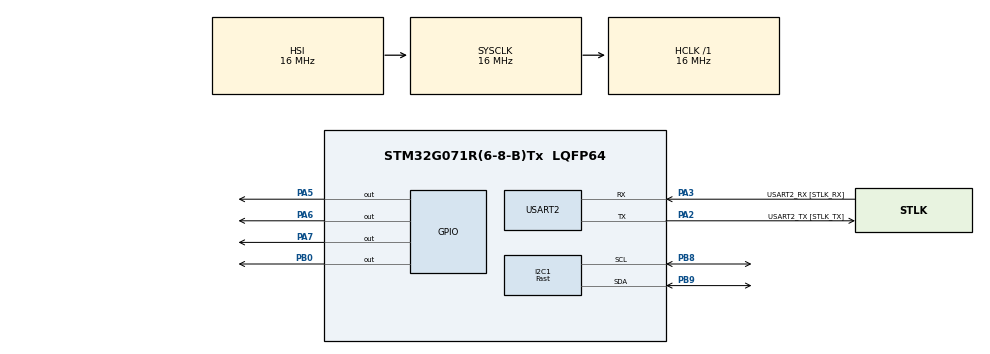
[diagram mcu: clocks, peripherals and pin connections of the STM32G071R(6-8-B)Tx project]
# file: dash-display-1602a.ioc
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I2C1.I2C_Speed_Mode=I2C_Fast
I2C1.Timing=0x0010061A
Mcu.Family=STM32G0
Mcu.Name=STM32G071R(6-8-B)Tx
Mcu.Package=LQFP64
PA13.GPIO_Label=TMS
PA13.Mode=Serial_Wire
PA13.Signal=SYS_SWDIO
PA14-BOOT0.GPIO_Label=TCK
PA14-BOOT0.Mode=Serial_Wire
PA14-BOOT0.Signal=SYS_SWCLK
PA2.GPIO_Label=USART2_TX [STLK_TX]
PA2.GPIO_PuPd=GPIO_PULLUP
PA2.Mode=Asynchronous
PA2.Signal=USART2_TX
PA3.GPIO_Label=USART2_RX [STLK_RX]
PA3.GPIO_PuPd=GPIO_PULLUP
PA3.Mode=Asynchronous
PA3.Signal=USART2_RX
PA5.Signal=GPIO_Output
PA6.Signal=GPIO_Output
PA7.Signal=GPIO_Output
PB0.Signal=GPIO_Output
PB8.Mode=I2C
PB8.Signal=I2C1_SCL
PB9.Mode=I2C
PB9.Signal=I2C1_SDA
PC13.Mode=SYS_WakeUp1
PC13.Signal=SYS_WKUP2
PC14-OSC32_IN\ (PC14).Mode=LSE-External-Oscillator
PC14-OSC32_IN\ (PC14).Signal=RCC_OSC32_IN
PC15-OSC32_OUT\ (PC15).Mode=LSE-External-Oscillator
PC15-OSC32_OUT\ (PC15).Signal=RCC_OSC32_OUT
PF0-OSC_IN\ (PF0).GPIO_Label=MCO
PF0-OSC_IN\ (PF0).Mode=HSE-External-Clock-Source
PF0-OSC_IN\ (PF0).Signal=RCC_OSC_IN
ProjectManager.HeapSize=0x200
ProjectManager.StackSize=0x400
ProjectManager.TargetToolchain=STM32CubeIDE
RCC.AHBFreq_Value=16000000
RCC.CortexFreq_Value=16000000
RCC.EXTERNAL_CLOCK_VALUE=12288000
RCC.HCLKFreq_Value=16000000
RCC.HSE_VALUE=8000000
RCC.HSI_VALUE=16000000
RCC.SYSCLKFreq_VALUE=16000000
RCC.VCOOutputFreq_Value=128000000
TIM1.Period=65535-1
TIM1.Prescaler=16-1
USART2.VirtualMode-Asynchronous=VM_ASYNC
VP_SYS_VS_DBSignals.Mode=DisableDeadBatterySignals
VP_TIM1_VS_ClockSourceINT.Mode=Internal
board=NUCLEO-G071RB

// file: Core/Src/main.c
/* USER CODE BEGIN Header */
/**
  ******************************************************************************
  * @file           : main.c
  * @brief          : Main program body
  ******************************************************************************
  * @attention
  *
  * Copyright (c) 2024 STMicroelectronics.
  * All rights reserved.
  *
  * This software is licensed under terms that can be found in the LICENSE file
  * in the root directory of this software component.
  * If no LICENSE file comes with this software, it is provided AS-IS.
  *
  ******************************************************************************
  */
/* USER CODE END Header */
#include "main.h"

/* USER CODE BEGIN Includes */

/* Component includes */
#include "spl06-007.h"
#include "i2c-lcd.h"
#include "ssd1306.h"

/* OLED Driver Includes */
#include "fonts.h"
#include "horse_anim.h"
#include "utsmabitmap.h"

/* Standard C Includes */
#include "stdio.h"
#include "string.h"

/* Utility Includes*/
#include "i2cScanner.h"

/* USER CODE END Includes */

I2C_HandleTypeDef hi2c1;

TIM_HandleTypeDef htim1;

UART_HandleTypeDef huart2;

void SystemClock_Config(void);
static void MX_GPIO_Init(void);
static void MX_USART2_UART_Init(void);
static void MX_I2C1_Init(void);
static void MX_TIM1_Init(void);

/* USER CODE BEGIN 0 */

	/* I2C LCD Variables */
	int row=0;
	int col=0;

	/* I2C SPL06 Variables */
	SPL06_007 pressureSensor;

	/* UART Variables */
	uint8_t msg[40];

/* USER CODE END 0 */

int main(void)
{

  /* MCU Configuration--------------------------------------------------------*/

  /* Reset of all peripherals, Initializes the Flash interface and the Systick. */
  HAL_Init();

  /* Configure the system clock */
  SystemClock_Config();

  /* Initialize all configured peripherals */
  MX_GPIO_Init();
  MX_USART2_UART_Init();
  MX_I2C1_Init();
  MX_TIM1_Init();
  /* USER CODE BEGIN 2 */

  	  /* Start I2C Scan */
  	  i2cScanner();

  	  /* OLED Initialise */
	  SSD1306_Init();

  	  /* LCD Init */
  	  lcd_init();

	  /* Initialise pressure sensor */
	  uint8_t ret = SPL06_007_Initialise( &pressureSensor, &hi2c1 );
	  if (ret == 0){
		  // Success
		  sprintf(msg, "Successfully Connected to SPL006. \r\n");
		  HAL_UART_Transmit(&huart2, (uint8_t*) msg, strlen(msg), HAL_MAX_DELAY);
	  } else {
		  // Errors
		  sprintf(msg, "Number of errors: %d\r\n", ret);
		  HAL_UART_Transmit(&huart2, (uint8_t*) msg, strlen(msg), HAL_MAX_DELAY);
	  }

	  /* LCD Welcome */
	  lcd_send_string ("Design Challenge");
	  HAL_Delay(500);
	  lcd_put_cur(1, 0);
	  lcd_send_string("Vehicle Online");
	  HAL_Delay(2000);
	  lcd_clear ();

	  /* OLED UTSMA Logo */
	  SSD1306_DrawBitmap(0,0,utsma, 128, 64, 1);
	  SSD1306_UpdateScreen();

	  HAL_Delay(2000);

	  /* OLED Scrolling */
	  SSD1306_ScrollRight(0x00, 0x0f);     // scroll entire screen right
	  HAL_Delay (2000);
	  SSD1306_ScrollLeft(0x00, 0x0f);  	   // scroll entire screen left
	  HAL_Delay (2000);
	  SSD1306_Scrolldiagright(0x00, 0x0f); // scroll entire screen diagonal right
	  HAL_Delay (2000);
	  SSD1306_Scrolldiagleft(0x00, 0x0f);  // scroll entire screen diagonal left
	  HAL_Delay (2000);
	  SSD1306_Stopscroll();   			   // stop scrolling
	  SSD1306_InvertDisplay(1);   		   // invert the display
	  HAL_Delay(2000);
	  SSD1306_InvertDisplay(0);  		   // normalize the display

  /* USER CODE END 2 */

  /* Infinite loop */
  /* USER CODE BEGIN WHILE */
  while (1)
  {
	  /* Reading Raw Temperature */
	  uint32_t rawTemp = SPL06_007_getRawTemp(&pressureSensor);
	  sprintf(msg, "RAW TEMP: %d\r\n", rawTemp);
	  HAL_UART_Transmit(&huart2, (uint8_t*) msg, strlen(msg), HAL_MAX_DELAY);

	  /* Reading Compensated Temperature */
	  uint32_t compTemp = SPL06_007_calcCompTemp(&pressureSensor, rawTemp);
	  sprintf(msg, "COMP TEMP: %d\r\n", compTemp);
	  HAL_UART_Transmit(&huart2, (uint8_t*) msg, strlen(msg), HAL_MAX_DELAY);

	  /* DEBUG - Print coefficient 0 */
	  int16_t  c0 = SPL06_007_getSplitHighCoefficient(&pressureSensor, SPL06_REG_C0, SPL06_REG_C01C1);
	  sprintf(msg, "C0: 0x%02X\r\n", c0);
	  HAL_UART_Transmit(&huart2, (uint8_t*) msg, strlen(msg), HAL_MAX_DELAY);

	  /* DEBUG - Print coefficient 1 */
	  int16_t  c1 = SPL06_007_getSplitLowCoefficient(&pressureSensor, SPL06_REG_C01C1, SPL06_REG_C1);
	  sprintf(msg, "C1: 0x%02X\r\n", c1);
	  HAL_UART_Transmit(&huart2, (uint8_t*) msg, strlen(msg), HAL_MAX_DELAY);

	  /* LCD Messaging */
	  lcd_put_cur(0, 0);
	  lcd_send_string ("State A");
	  lcd_put_cur(1, 0);
	  sprintf(msg, "Temp: %d", rawTemp);
	  lcd_send_string (msg);
	  HAL_Delay(1000);
	  lcd_clear ();

	  //// HORSE ANIMATION START //////
	  SSD1306_Clear();
	  SSD1306_DrawBitmap(0,0,horse1,128,64,1);
	  SSD1306_UpdateScreen();

	  SSD1306_Clear();
	  SSD1306_DrawBitmap(0,0,horse2,128,64,1);
	  SSD1306_UpdateScreen();

	  SSD1306_Clear();
	  SSD1306_DrawBitmap(0,0,horse3,128,64,1);
	  SSD1306_UpdateScreen();

	  SSD1306_Clear();
	  SSD1306_DrawBitmap(0,0,horse4,128,64,1);
	  SSD1306_UpdateScreen();

	  SSD1306_Clear();
	  SSD1306_DrawBitmap(0,0,horse5,128,64,1);
	  SSD1306_UpdateScreen();

	  SSD1306_Clear();
	  SSD1306_DrawBitmap(0,0,horse6,128,64,1);
	  SSD1306_UpdateScreen();

	  SSD1306_Clear();
	  SSD1306_DrawBitmap(0,0,horse7,128,64,1);
	  SSD1306_UpdateScreen();

	  SSD1306_Clear();
	  SSD1306_DrawBitmap(0,0,horse8,128,64,1);
	  SSD1306_UpdateScreen();

	  SSD1306_Clear();
	  SSD1306_DrawBitmap(0,0,horse9,128,64,1);
	  SSD1306_UpdateScreen();

	  SSD1306_Clear();
	  SSD1306_DrawBitmap(0,0,horse10,128,64,1);
	  SSD1306_UpdateScreen();
	  //// HORSE ANIMATION ENDS //////

    /* USER CODE END WHILE */

  }
}

void SystemClock_Config(void)
{
  RCC_OscInitTypeDef RCC_OscInitStruct = {0};
  RCC_ClkInitTypeDef RCC_ClkInitStruct = {0};

  /** Configure the main internal regulator output voltage
  */
  HAL_PWREx_ControlVoltageScaling(PWR_REGULATOR_VOLTAGE_SCALE1);

  /** Initializes the RCC Oscillators according to the specified parameters
  * in the RCC_OscInitTypeDef structure.
  */
  RCC_OscInitStruct.OscillatorType = RCC_OSCILLATORTYPE_HSI;
  RCC_OscInitStruct.HSIState = RCC_HSI_ON;
  RCC_OscInitStruct.HSIDiv = RCC_HSI_DIV1;
  RCC_OscInitStruct.HSICalibrationValue = RCC_HSICALIBRATION_DEFAULT;
  RCC_OscInitStruct.PLL.PLLState = RCC_PLL_NONE;
  if (HAL_RCC_OscConfig(&RCC_OscInitStruct) != HAL_OK)
  {
    Error_Handler();
  }

  /** Initializes the CPU, AHB and APB buses clocks
  */
  RCC_ClkInitStruct.ClockType = RCC_CLOCKTYPE_HCLK|RCC_CLOCKTYPE_SYSCLK
                              |RCC_CLOCKTYPE_PCLK1;
  RCC_ClkInitStruct.SYSCLKSource = RCC_SYSCLKSOURCE_HSI;
  RCC_ClkInitStruct.AHBCLKDivider = RCC_SYSCLK_DIV1;
  RCC_ClkInitStruct.APB1CLKDivider = RCC_HCLK_DIV1;

  if (HAL_RCC_ClockConfig(&RCC_ClkInitStruct, FLASH_LATENCY_0) != HAL_OK)
  {
    Error_Handler();
  }
}

static void MX_I2C1_Init(void)
{

  hi2c1.Instance = I2C1;
  hi2c1.Init.Timing = 0x0010061A;
  hi2c1.Init.OwnAddress1 = 0;
  hi2c1.Init.AddressingMode = I2C_ADDRESSINGMODE_7BIT;
  hi2c1.Init.DualAddressMode = I2C_DUALADDRESS_DISABLE;
  hi2c1.Init.OwnAddress2 = 0;
  hi2c1.Init.OwnAddress2Masks = I2C_OA2_NOMASK;
  hi2c1.Init.GeneralCallMode = I2C_GENERALCALL_DISABLE;
  hi2c1.Init.NoStretchMode = I2C_NOSTRETCH_DISABLE;
  if (HAL_I2C_Init(&hi2c1) != HAL_OK)
  {
    Error_Handler();
  }

  /** Configure Analogue filter
  */
  if (HAL_I2CEx_ConfigAnalogFilter(&hi2c1, I2C_ANALOGFILTER_ENABLE) != HAL_OK)
  {
    Error_Handler();
  }

  /** Configure Digital filter
  */
  if (HAL_I2CEx_ConfigDigitalFilter(&hi2c1, 0) != HAL_OK)
  {
    Error_Handler();
  }

}

static void MX_TIM1_Init(void)
{

  TIM_ClockConfigTypeDef sClockSourceConfig = {0};
  TIM_MasterConfigTypeDef sMasterConfig = {0};

  htim1.Instance = TIM1;
  htim1.Init.Prescaler = 16-1;
  htim1.Init.CounterMode = TIM_COUNTERMODE_UP;
  htim1.Init.Period = 65535-1;
  htim1.Init.ClockDivision = TIM_CLOCKDIVISION_DIV1;
  htim1.Init.RepetitionCounter = 0;
  htim1.Init.AutoReloadPreload = TIM_AUTORELOAD_PRELOAD_DISABLE;
  if (HAL_TIM_Base_Init(&htim1) != HAL_OK)
  {
    Error_Handler();
  }
  sClockSourceConfig.ClockSource = TIM_CLOCKSOURCE_INTERNAL;
  if (HAL_TIM_ConfigClockSource(&htim1, &sClockSourceConfig) != HAL_OK)
  {
    Error_Handler();
  }
  sMasterConfig.MasterOutputTrigger = TIM_TRGO_RESET;
  sMasterConfig.MasterOutputTrigger2 = TIM_TRGO2_RESET;
  sMasterConfig.MasterSlaveMode = TIM_MASTERSLAVEMODE_DISABLE;
  if (HAL_TIMEx_MasterConfigSynchronization(&htim1, &sMasterConfig) != HAL_OK)
  {
    Error_Handler();
  }

}

static void MX_USART2_UART_Init(void)
{

  huart2.Instance = USART2;
  huart2.Init.BaudRate = 115200;
  huart2.Init.WordLength = UART_WORDLENGTH_8B;
  huart2.Init.StopBits = UART_STOPBITS_1;
  huart2.Init.Parity = UART_PARITY_NONE;
  huart2.Init.Mode = UART_MODE_TX_RX;
  huart2.Init.HwFlowCtl = UART_HWCONTROL_NONE;
  huart2.Init.OverSampling = UART_OVERSAMPLING_16;
  huart2.Init.OneBitSampling = UART_ONE_BIT_SAMPLE_DISABLE;
  huart2.Init.ClockPrescaler = UART_PRESCALER_DIV1;
  huart2.AdvancedInit.AdvFeatureInit = UART_ADVFEATURE_NO_INIT;
  if (HAL_UART_Init(&huart2) != HAL_OK)
  {
    Error_Handler();
  }
  if (HAL_UARTEx_SetTxFifoThreshold(&huart2, UART_TXFIFO_THRESHOLD_1_8) != HAL_OK)
  {
    Error_Handler();
  }
  if (HAL_UARTEx_SetRxFifoThreshold(&huart2, UART_RXFIFO_THRESHOLD_1_8) != HAL_OK)
  {
    Error_Handler();
  }
  if (HAL_UARTEx_DisableFifoMode(&huart2) != HAL_OK)
  {
    Error_Handler();
  }

}

static void MX_GPIO_Init(void)
{
  GPIO_InitTypeDef GPIO_InitStruct = {0};

  /* GPIO Ports Clock Enable */
  __HAL_RCC_GPIOC_CLK_ENABLE();
  __HAL_RCC_GPIOF_CLK_ENABLE();
  __HAL_RCC_GPIOA_CLK_ENABLE();
  __HAL_RCC_GPIOB_CLK_ENABLE();

  /*Configure GPIO pin Output Level */
  HAL_GPIO_WritePin(GPIOA, GPIO_PIN_5|GPIO_PIN_6|GPIO_PIN_7, GPIO_PIN_RESET);

  /*Configure GPIO pin Output Level */
  HAL_GPIO_WritePin(GPIOB, GPIO_PIN_0, GPIO_PIN_RESET);

  /*Configure GPIO pins : PA5 PA6 PA7 */
  GPIO_InitStruct.Pin = GPIO_PIN_5|GPIO_PIN_6|GPIO_PIN_7;
  GPIO_InitStruct.Mode = GPIO_MODE_OUTPUT_PP;
  GPIO_InitStruct.Pull = GPIO_NOPULL;
  GPIO_InitStruct.Speed = GPIO_SPEED_FREQ_LOW;
  HAL_GPIO_Init(GPIOA, &GPIO_InitStruct);

  /*Configure GPIO pin : PB0 */
  GPIO_InitStruct.Pin = GPIO_PIN_0;
  GPIO_InitStruct.Mode = GPIO_MODE_OUTPUT_PP;
  GPIO_InitStruct.Pull = GPIO_NOPULL;
  GPIO_InitStruct.Speed = GPIO_SPEED_FREQ_LOW;
  HAL_GPIO_Init(GPIOB, &GPIO_InitStruct);

}

void Error_Handler(void)
{
  __disable_irq();
  while (1)
  {
  }
}
